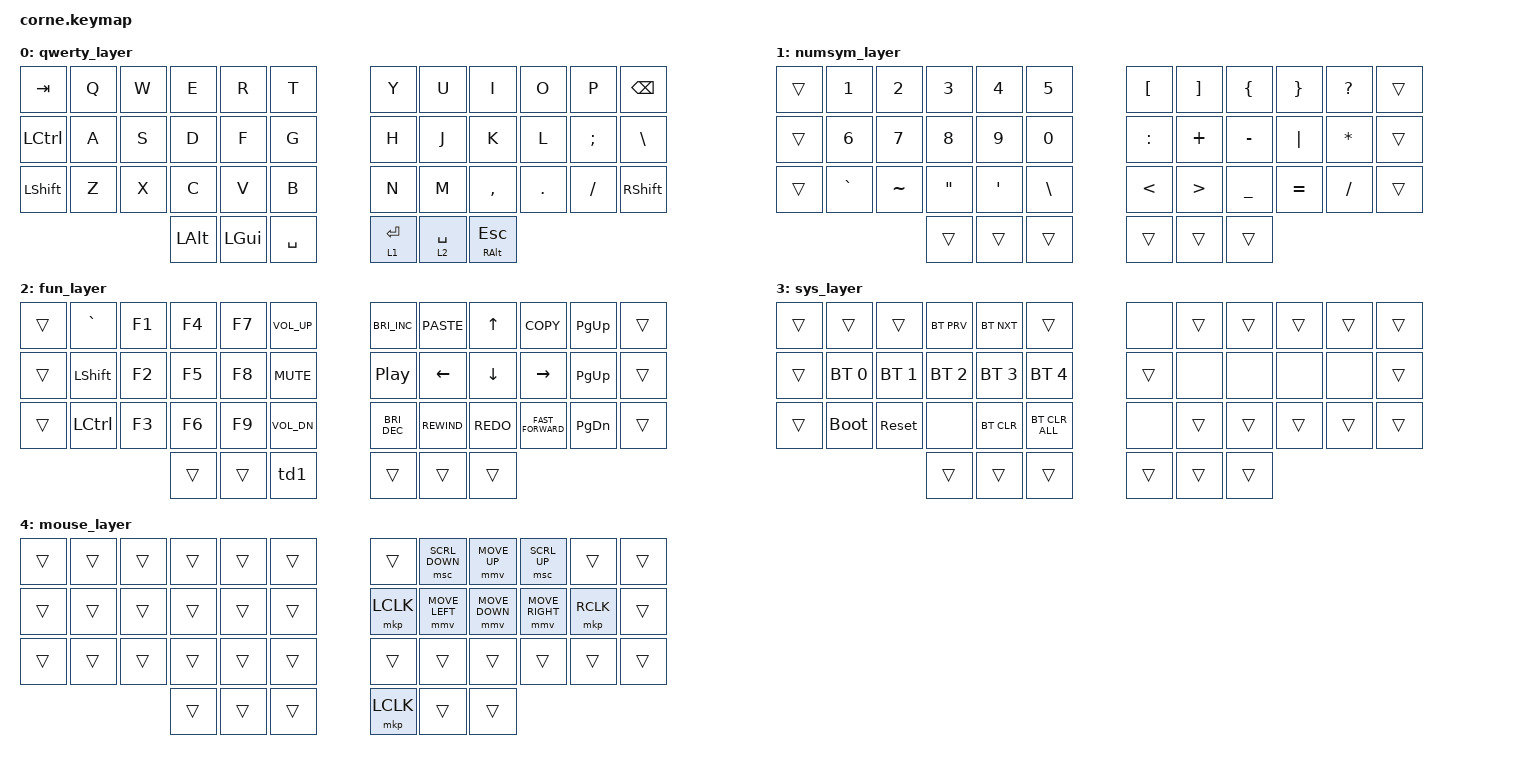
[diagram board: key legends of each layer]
/*
 * Copyright (c) 2020 The ZMK Contributors
 *
 * SPDX-License-Identifier: MIT
 */

#include <behaviors/mouse_keys.dtsi>
#include <dt-bindings/zmk/mouse.h>
#include <behaviors.dtsi>
#include <dt-bindings/zmk/bt.h>
#include <dt-bindings/zmk/keys.h>

#define U_MOUSE_MOVE_MAX 3000
#define U_MOUSE_MOVE_EXPONENT 10
#define U_MOUSE_MOVE_TIME 1500
#define U_MOUSE_MOVE_DELAY 0
#define U_MOUSE_SCROLL_MAX 500                    /* <--- New max speed setting (default: 10) */

&mt {
    tapping-term-ms = <200>;
    quick-tap-ms = <200>;
    require-prior-idle-ms = <120>;
    flavor = "balanced";
};

&lt { tapping-term-ms = <200>; };

/ {
    combos {
        compatible = "zmk,combos";

        combo_esc {
            timeout-ms = <50>;
            key-positions = <1 2>;
            bindings = <&kp ESCAPE>;
        };

        combo_bksp {
            timeout-ms = <50>;
            key-positions = <10 9>;
            bindings = <&kp BACKSPACE>;
        };

        combo_tab {
            bindings = <&kp TAB>;
            key-positions = <13 14>;
        };

        combo_shift {
            bindings = <&kp LEFT_SHIFT>;
            key-positions = <25 26>;
        };

        combo_delete {
            bindings = <&kp DELETE>;
            key-positions = <21 22>;
        };

        combo_rshift {
            bindings = <&kp RIGHT_SHIFT>;
            key-positions = <33 34>;
        };

        exclm {
            bindings = <&kp EXCLAMATION>;
            key-positions = <1 13>;
        };

        at {
            bindings = <&kp AT_SIGN>;
            key-positions = <2 14>;
        };

        hash {
            bindings = <&kp HASH>;
            key-positions = <3 15>;
        };

        dllr {
            bindings = <&kp DOLLAR>;
            key-positions = <4 16>;
        };

        percnt {
            bindings = <&kp PERCENT>;
            key-positions = <5 17>;
        };

        caret {
            bindings = <&kp CARET>;
            key-positions = <6 18>;
        };

        and {
            bindings = <&kp AMPERSAND>;
            key-positions = <7 19>;
        };

        str {
            bindings = <&kp ASTERISK>;
            key-positions = <8 20>;
        };

        leftparen {
            bindings = <&kp LPAR>;
            key-positions = <9 21>;
        };

        rparen {
            bindings = <&kp RPAR>;
            key-positions = <10 22>;
        };

        layout_switch {
            bindings = <&tog 0>;
            key-positions = <36 37 40 41>;
        };

        system_reset {
            bindings = <&sys_reset>;
            key-positions = <3 4 5>;
        };

        bootloader {
            bindings = <&bootloader>;
            key-positions = <15 16 17>;
        };

        system_layer_combo {
            bindings = <&mo 3>;
            key-positions = <36 37>;
        };

        mouse_layer_combo {
            bindings = <&mo 4>;
            key-positions = <28 29>;
        };

        screenshot {
            bindings = <&kp LG(LS(NUMBER_1))>;
            key-positions = <25 5>;
        };
    };

    conditional_layers { compatible = "zmk,conditional-layers"; };

    behaviors {
        //td0: tap_dance_0 {
        //    compatible = "zmk,behavior-tap-dance";
        //    #binding-cells = <0>;
        //    bindings = <&lt 2 LEFT_CONTROL>, <&to 2>;
        //};
    };

    behaviors {
        td1: tap_dance_1 {
            compatible = "zmk,behavior-tap-dance";
            #binding-cells = <0>;
            tapping-term-ms = <200>;
            bindings = <&to 0>, <&to 0>;
        };
    };

    keymap {
        compatible = "zmk,keymap";

        qwerty_layer {
            bindings = <
&kp TAB     &kp Q  &kp W  &kp E         &kp R         &kp T        &kp Y        &kp U        &kp I              &kp O    &kp P     &kp BACKSPACE
&kp LCTRL   &kp A  &kp S  &kp D         &kp F         &kp G        &kp H        &kp J        &kp K              &kp L    &kp SEMI  &kp BACKSLASH
&kp LSHIFT  &kp Z  &kp X  &kp C         &kp V         &kp B        &kp N        &kp M        &kp COMMA          &kp DOT  &kp FSLH  &kp RSHIFT
                          &kp LEFT_ALT  &kp LEFT_GUI  &kp SPACE    &lt 1 ENTER  &lt 2 SPACE  &mt RIGHT_ALT ESC
            >;
        };

        //         colemak_layer {
        //             bindings = <
        // &none  &kp Q  &kp W  &kp F             &kp P         &kp G          &kp J        &kp L                      &kp U             &kp Y    &kp SEMICOLON  &none
        // &none  &kp A  &kp R  &kp S             &kp T         &kp D          &kp H        &kp N                      &kp E             &kp I    &kp O          &none
        // &none  &kp Z  &kp X  &kp C             &kp V         &kp B          &kp K        &kp M                      &kp COMMA         &kp DOT  &kp FSLH       &none
        //                      &kp LEFT_CONTROL  &kp LEFT_GUI  &lt 2 SPACE    &lt 1 ENTER  &mt RIGHT_SHIFT BACKSPACE  &mt LEFT_ALT ESC
        //             >;
        //         };

        numsym_layer {
            bindings = <
&trans  &kp N1        &kp N2     &kp N3   &kp N4   &kp N5          &kp LEFT_BRACKET  &kp RIGHT_BRACKET  &kp LEFT_BRACE  &kp RIGHT_BRACE  &kp QUESTION  &trans
&trans  &kp NUMBER_6  &kp N7     &kp N8   &kp N9   &kp NUMBER_0    &kp COLON         &kp PLUS           &kp MINUS       &kp PIPE         &kp ASTERISK  &trans
&trans  &kp GRAVE     &kp TILDE  &kp DQT  &kp SQT  &kp BSLH        &kp LESS_THAN     &kp GREATER_THAN   &kp UNDER       &kp EQUAL        &kp SLASH     &trans
                                 &trans   &trans   &trans          &trans            &trans             &trans
            >;
        };

        fun_layer {
            bindings = <
&trans  &kp GRAVE   &kp F1  &kp F4  &kp F7  &kp C_VOL_UP    &kp C_BRIGHTNESS_INC  &kp K_PASTE     &kp UP_ARROW    &kp K_COPY          &kp PG_UP      &trans
&trans  &kp LSHIFT  &kp F2  &kp F5  &kp F8  &kp C_MUTE      &kp C_PLAY_PAUSE      &kp LEFT_ARROW  &kp DOWN_ARROW  &kp RIGHT           &kp PG_UP      &trans
&trans  &kp LCTRL   &kp F3  &kp F6  &kp F9  &kp C_VOL_DN    &kp C_BRIGHTNESS_DEC  &kp C_REWIND    &kp K_REDO      &kp C_FAST_FORWARD  &kp PAGE_DOWN  &trans
                            &trans  &trans  &td1            &trans                &trans          &trans
            >;
        };

        sys_layer {
            bindings = <
&trans  &trans        &trans        &bt BT_PRV    &bt BT_NXT    &trans            &none   &trans  &trans  &trans  &trans  &trans
&trans  &bt BT_SEL 0  &bt BT_SEL 1  &bt BT_SEL 2  &bt BT_SEL 3  &bt BT_SEL 4      &trans  &none   &none   &none   &none   &trans
&trans  &bootloader   &sys_reset    &none         &bt BT_CLR    &bt BT_CLR_ALL    &none   &trans  &trans  &trans  &trans  &trans
                                    &trans        &trans        &trans            &trans  &trans  &trans
            >;
        };

        mouse_layer {
            bindings = <
&trans  &trans  &trans  &trans  &trans  &trans    &trans     &msc SCRL_DOWN  &mmv MOVE_UP    &msc SCRL_UP     &trans     &trans
&trans  &trans  &trans  &trans  &trans  &trans    &mkp LCLK  &mmv MOVE_LEFT  &mmv MOVE_DOWN  &mmv MOVE_RIGHT  &mkp RCLK  &trans
&trans  &trans  &trans  &trans  &trans  &trans    &trans     &trans          &trans          &trans           &trans     &trans
                        &trans  &trans  &trans    &mkp LCLK  &trans          &trans
            >;
        };
    };
};
